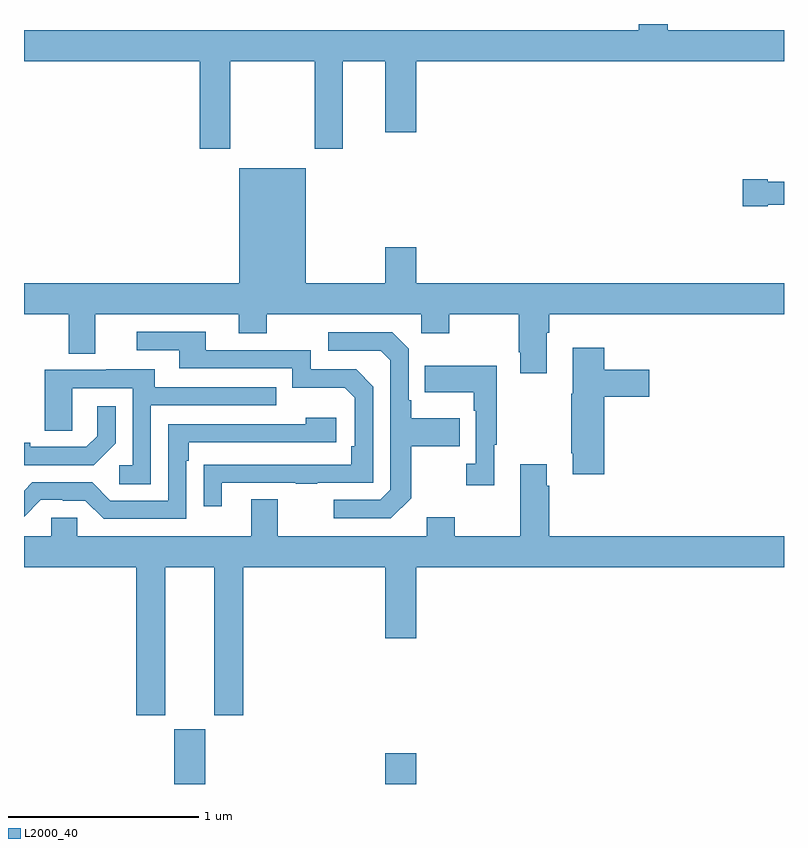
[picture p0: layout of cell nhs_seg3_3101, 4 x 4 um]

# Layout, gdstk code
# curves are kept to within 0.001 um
import gdstk
lib = gdstk.Library(unit=1e-6, precision=1e-09)
def R(c, l, rs):  # rectangles x0, y0, x1, y1
    for r in rs: c.add(gdstk.rectangle(r[:2], r[2:], *l))
def P(c, l, *ps):  # polygons
    for p in ps: c.add(gdstk.Polygon(p, *l))
L2000_40 = (2000, 40)

nhs_seg3_3101 = lib.new_cell('nhs_seg3_3101')
R(nhs_seg3_3101, L2000_40, [(271.79,742.4,271.954,742.689), (272.9,742.4,273.064,742.561)])
P(nhs_seg3_3101, L2000_40, [(272.085,746.204),(272.53,746.204),(272.53,745.743),(272.677,745.743),(272.677,746.204),(272.9,746.204),(272.9,745.83),(273.064,745.83),(273.064,746.204),(275,746.204),(275,746.368),(274.387,746.368),(274.387,746.4),(274.235,746.4),(274.235,746.368),(271,746.368),(271,746.204),(271.925,746.204),(271.925,745.743),(272.085,745.743)],
  [(273.751,744.776),(273.764,744.776),(273.764,744.872),(275,744.872),(275,745.036),(273.064,745.036),(273.064,745.225),(272.9,745.225),(272.9,745.036),(272.482,745.036),(272.482,745.642),(272.132,745.642),(272.132,745.036),(271,745.036),(271,744.872),(271.235,744.872),(271.235,744.664),(271.375,744.664),(271.375,744.872),(272.129,744.872),(272.129,744.773),(272.277,744.773),(272.277,744.872),(273.09,744.872),(273.09,744.773),(273.237,744.773),(273.237,744.872),(273.604,744.872),(273.604,744.673),(273.611,744.673),(273.611,744.561),(273.751,744.561)],
  [(274.914,745.448),(275,745.448),(275,745.57),(274.914,745.57),(274.914,745.583),(274.782,745.583),(274.782,745.441),(274.914,745.441)],
  [(272.041,743.985),(272.431,743.985),(272.431,743.98),(272.543,743.98),(272.543,743.985),(272.838,743.985),(272.838,744.492),(272.748,744.582),(272.508,744.582),(272.508,744.684),(271.957,744.684),(271.957,744.78),(271.593,744.78),(271.593,744.684),(271.817,744.684),(271.817,744.588),(272.412,744.588),(272.412,744.485),(272.689,744.485),(272.742,744.432),(272.742,744.178),(272.722,744.178),(272.722,744.081),(271.945,744.08),(271.945,743.862),(272.041,743.862)],
  [(273.037,743.905),(273.037,744.178),(273.293,744.178),(273.293,744.325),(273.037,744.325),(273.037,744.421),(273.024,744.421),(273.024,744.69),(272.937,744.777),(272.601,744.777),(272.601,744.681),(272.877,744.681),(272.928,744.63),(272.928,743.949),(272.874,743.895),(272.631,743.895),(272.631,743.799),(272.931,743.799)],
  [(274.055,744.437),(274.291,744.437),(274.291,744.579),(274.055,744.579),(274.055,744.697),(273.887,744.697),(273.887,744.453),(273.88,744.453),(273.88,744.142),(273.887,744.142),(273.887,744.03),(274.055,744.03)],
  [(273.475,744.185),(273.487,744.185),(273.487,744.601),(273.109,744.601),(273.109,744.461),(273.366,744.461),(273.366,744.365),(273.378,744.365),(273.378,744.086),(273.327,744.086),(273.327,743.973),(273.475,743.973)],
  [(271.668,744.393),(272.327,744.393),(272.327,744.489),(271.687,744.489),(271.687,744.583),(271.433,744.583),(271.433,744.579),(271.109,744.579),(271.109,744.259),(271.254,744.259),(271.254,744.483),(271.572,744.483),(271.572,744.078),(271.5,744.078),(271.5,743.977),(271.668,743.977)],
  [(271.482,744.194),(271.482,744.388),(271.385,744.388),(271.385,744.231),(271.328,744.174),(271.033,744.174),(271.033,744.197),(271,744.197),(271,744.078),(271.366,744.078)],
  [(271.854,744.101),(271.867,744.101),(271.867,744.198),(272.644,744.198),(272.644,744.328),(272.483,744.328),(272.483,744.294),(271.758,744.294),(271.758,743.892),(271.455,743.892),(271.359,743.988),(271.044,743.988),(271,743.944),(271,743.806),(271.089,743.895),(271.205,743.895),(271.205,743.892),(271.323,743.892),(271.419,743.796),(271.854,743.796)],
  [(271.744,743.54),(272,743.54),(272,742.761),(272.153,742.761),(272.153,743.54),(272.9,743.54),(272.9,743.166),(273.064,743.166),(273.064,743.54),(275,743.54),(275,743.704),(273.764,743.704),(273.764,743.969),(273.751,743.969),(273.751,744.082),(273.611,744.082),(273.611,743.704),(273.267,743.704),(273.267,743.803),(273.119,743.803),(273.119,743.704),(272.335,743.704),(272.335,743.899),(272.195,743.899),(272.195,743.704),(271.281,743.704),(271.281,743.802),(271.143,743.802),(271.143,743.704),(271,743.704),(271,743.54),(271.592,743.54),(271.592,742.761),(271.744,742.761)])

lib.write_gds('nhs_seg3_3101.gds')
